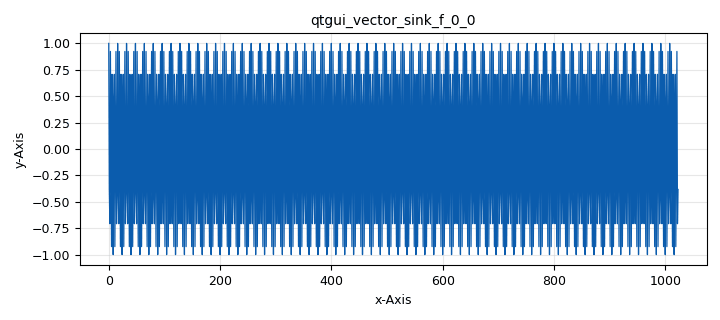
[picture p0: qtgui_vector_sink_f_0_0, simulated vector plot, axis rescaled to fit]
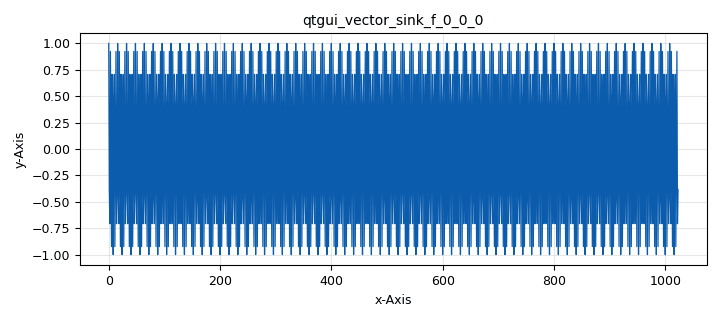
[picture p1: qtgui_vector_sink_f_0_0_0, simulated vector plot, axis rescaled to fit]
options:
  parameters:
    author: vlpannel
    generate_options: qt_gui
    id: vecdecim_test
    output_language: python
    title: Not titled yet
  states: {}

blocks:
- name: samp_rate
  id: variable
  parameters:
    value: '3200'
  states: {}
- name: analog_sig_source_x_0
  id: analog_sig_source_x
  parameters:
    amp: '1'
    freq: '1000'
    offset: '0'
    phase: '0'
    samp_rate: samp_rate
    type: float
    waveform: analog.GR_COS_WAVE
  states: {}
- name: blocks_keep_one_in_n_0
  id: blocks_keep_one_in_n
  parameters:
    n: '2'
    type: float
    vlen: '2'
  states: {state: disabled}
- name: blocks_stream_to_vector_0
  id: blocks_stream_to_vector
  parameters:
    num_items: '1024'
    type: float
  states: {state: disabled}
- name: blocks_stream_to_vector_1
  id: blocks_stream_to_vector
  parameters:
    type: float
  states: {state: disabled}
- name: blocks_stream_to_vector_decimator_0
  id: blocks_stream_to_vector_decimator
  parameters:
    sample_rate: samp_rate
    type: float
    vec_rate: samp_rate / 1
    vlen: '1024'
  states: {}
- name: blocks_stream_to_vector_decimator_0_0
  id: blocks_stream_to_vector_decimator
  parameters:
    sample_rate: samp_rate
    type: float
    vec_rate: samp_rate * 2
    vlen: '1024'
  states: {}
- name: blocks_throttle_0
  id: blocks_throttle
  parameters:
    samples_per_second: samp_rate
    type: float
  states: {}
- name: blocks_throttle_0_0
  id: blocks_throttle
  parameters:
    samples_per_second: samp_rate
    type: float
  states: {state: disabled}
- name: blocks_vector_source_x_0
  id: blocks_vector_source_x
  parameters:
    repeat: 'True'
    type: float
    vector: np.arange(100)
  states: {state: disabled}
- name: blocks_vector_source_x_0_0
  id: blocks_vector_source_x
  parameters:
    repeat: 'True'
    type: float
    vector: np.arange(100)
  states: {state: disabled}
- name: blocks_vector_to_stream_0
  id: blocks_vector_to_stream
  parameters:
    type: float
  states: {state: disabled}
- name: import_0
  id: import
  parameters:
    imports: import numpy as np
  states: {}
- name: qtgui_time_sink_x_0
  id: qtgui_time_sink_x
  parameters:
    size: '1024'
    srate: samp_rate
    type: float
  states: {state: disabled}
- name: qtgui_vector_sink_f_0
  id: qtgui_vector_sink_f
  parameters:
    gui_hint: (0,0)
    vlen: '1024'
    x_start: '0'
    x_step: '1.0'
  states: {state: disabled}
- name: qtgui_vector_sink_f_0_0
  id: qtgui_vector_sink_f
  parameters:
    gui_hint: (1,0)
    vlen: '1024'
    x_start: '0'
    x_step: '1.0'
  states: {}
- name: qtgui_vector_sink_f_0_0_0
  id: qtgui_vector_sink_f
  parameters:
    gui_hint: (2,0)
    vlen: '1024'
    x_start: '0'
    x_step: '1.0'
  states: {}

connections:
- [analog_sig_source_x_0, '0', blocks_throttle_0, '0']
- [blocks_keep_one_in_n_0, '0', blocks_vector_to_stream_0, '0']
- [blocks_stream_to_vector_0, '0', qtgui_vector_sink_f_0, '0']
- [blocks_stream_to_vector_1, '0', blocks_keep_one_in_n_0, '0']
- [blocks_stream_to_vector_decimator_0, '0', qtgui_vector_sink_f_0_0, '0']
- [blocks_stream_to_vector_decimator_0_0, '0', qtgui_vector_sink_f_0_0_0, '0']
- [blocks_throttle_0, '0', blocks_stream_to_vector_0, '0']
- [blocks_throttle_0, '0', blocks_stream_to_vector_decimator_0, '0']
- [blocks_throttle_0, '0', blocks_stream_to_vector_decimator_0_0, '0']
- [blocks_throttle_0_0, '0', blocks_stream_to_vector_1, '0']
- [blocks_vector_source_x_0, '0', blocks_throttle_0, '0']
- [blocks_vector_source_x_0_0, '0', blocks_throttle_0_0, '0']
- [blocks_vector_to_stream_0, '0', qtgui_time_sink_x_0, '0']

metadata:
  file_format: 1
  grc_version: 3.10.3.0
